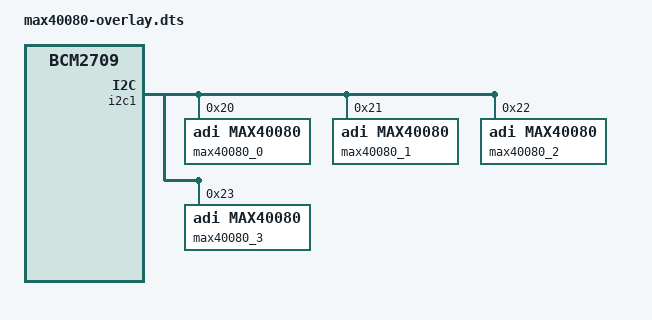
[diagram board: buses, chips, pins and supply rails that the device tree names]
// SPDX-License-Identifier: GPL-2.0
/dts-v1/;
/plugin/;

/ {
	compatible = "brcm,bcm2835", "brcm,bcm2708", "brcm,bcm2709";
};

&i2c1 {
	#address-cells = <1>;
	#size-cells = <0>;
	status = "okay";

	max40080_0: max40080@20 {
		compatible = "adi,max40080";
		reg = <0x20>;
	};

	max40080_1: max40080@21 {
		compatible = "adi,max40080";
		reg = <0x21>;
	};

	max40080_2: max40080@22 {
		compatible = "adi,max40080";
		reg = <0x22>;
	};

	max40080_3: max40080@23 {
		compatible = "adi,max40080";
		reg = <0x23>;
	};
};
